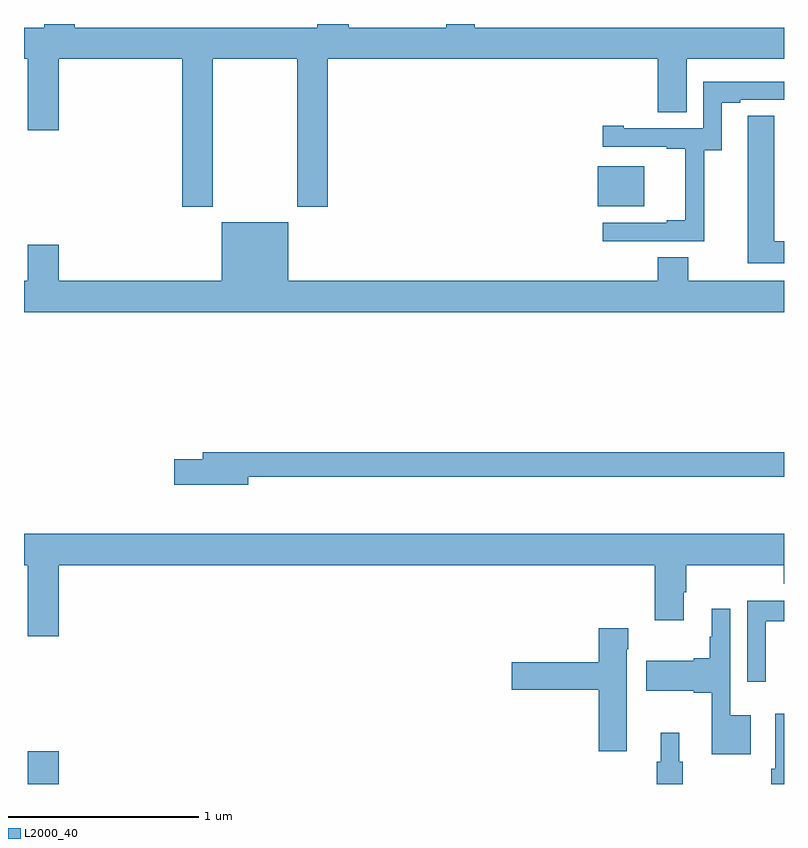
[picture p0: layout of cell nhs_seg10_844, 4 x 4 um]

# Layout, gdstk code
import gdstk
lib = gdstk.Library(unit=1e-6, precision=1e-09)
def R(c, l, rs):  # rectangles x0, y0, x1, y1
    for r in rs: c.add(gdstk.rectangle(r[:2], r[2:], *l))
def P(c, l, *ps):  # polygons
    for p in ps: c.add(gdstk.Polygon(p, *l))
L2000_40 = (2000, 40)

nhs_seg10_844 = lib.new_cell('nhs_seg10_844')
R(nhs_seg10_844, L2000_40, [(153.02,1296.5,153.184,1296.673), (156.02,1299.542,156.265,1299.751)])
P(nhs_seg10_844, L2000_40, [(156.335,1300.036),(156.487,1300.036),(156.487,1300.316),(157,1300.316),(157,1300.48),(155.373,1300.48),(155.373,1300.5),(155.222,1300.5),(155.222,1300.48),(154.709,1300.48),(154.709,1300.5),(154.544,1300.5),(154.544,1300.48),(153.266,1300.48),(153.266,1300.5),(153.106,1300.5),(153.106,1300.48),(153,1300.48),(153,1300.316),(153.02,1300.316),(153.02,1299.942),(153.184,1299.942),(153.184,1300.316),(153.833,1300.316),(153.833,1299.537),(153.993,1299.537),(153.993,1300.316),(154.438,1300.316),(154.438,1299.537),(154.598,1299.537),(154.598,1300.316),(156.335,1300.316)],
  [(156.579,1299.835),(156.673,1299.835),(156.673,1300.086),(156.769,1300.086),(156.769,1300.101),(157,1300.101),(157,1300.197),(156.576,1300.197),(156.576,1299.951),(156.157,1299.951),(156.157,1299.964),(156.045,1299.964),(156.045,1299.855),(156.383,1299.855),(156.383,1299.843),(156.479,1299.843),(156.479,1299.466),(156.383,1299.466),(156.383,1299.453),(156.045,1299.453),(156.045,1299.357),(156.579,1299.357)],
  [(157,1299.356),(156.949,1299.356),(156.949,1300.016),(156.81,1300.016),(156.81,1299.908),(156.809,1299.908),(156.809,1299.24),(157,1299.24)],
  [(157,1299.148),(156.495,1299.148),(156.495,1299.272),(156.335,1299.272),(156.335,1299.148),(154.39,1299.148),(154.39,1299.457),(154.04,1299.457),(154.04,1299.148),(153.184,1299.148),(153.184,1299.337),(153.02,1299.337),(153.02,1299.148),(153,1299.148),(153,1298.984),(157,1298.984)],
  [(154.18,1298.118),(157,1298.118),(157,1298.246),(153.941,1298.246),(153.941,1298.21),(153.792,1298.21),(153.792,1298.075),(154.18,1298.075)],
  [(153.184,1297.652),(156.32,1297.652),(156.32,1297.362),(156.472,1297.362),(156.472,1297.51),(156.485,1297.51),(156.485,1297.652),(156.998,1297.652),(156.998,1297.554),(157,1297.554),(157,1297.816),(153,1297.816),(153,1297.652),(153.02,1297.652),(153.02,1297.278),(153.184,1297.278)],
  [(156.904,1297.356),(157,1297.356),(157,1297.464),(156.807,1297.464),(156.807,1297.038),(156.904,1297.038)],
  [(156.826,1296.862),(156.717,1296.862),(156.717,1297.423),(156.62,1297.423),(156.62,1297.274),(156.609,1297.274),(156.609,1297.163),(156.524,1297.163),(156.524,1297.15),(156.276,1297.15),(156.276,1296.992),(156.524,1296.992),(156.524,1296.98),(156.62,1296.98),(156.62,1296.656),(156.826,1296.656)],
  [(156.172,1297.208),(156.18,1297.208),(156.18,1297.321),(156.026,1297.321),(156.026,1297.142),(155.568,1297.142),(155.568,1296.995),(156.026,1296.995),(156.026,1296.672),(156.172,1296.672)],
  [(157,1296.871),(156.954,1296.871),(156.954,1296.58),(156.934,1296.58),(156.934,1296.5),(157,1296.5)],
  [(156.467,1296.618),(156.448,1296.618),(156.448,1296.769),(156.35,1296.769),(156.35,1296.618),(156.331,1296.618),(156.331,1296.5),(156.467,1296.5)])

lib.write_gds('nhs_seg10_844.gds')
